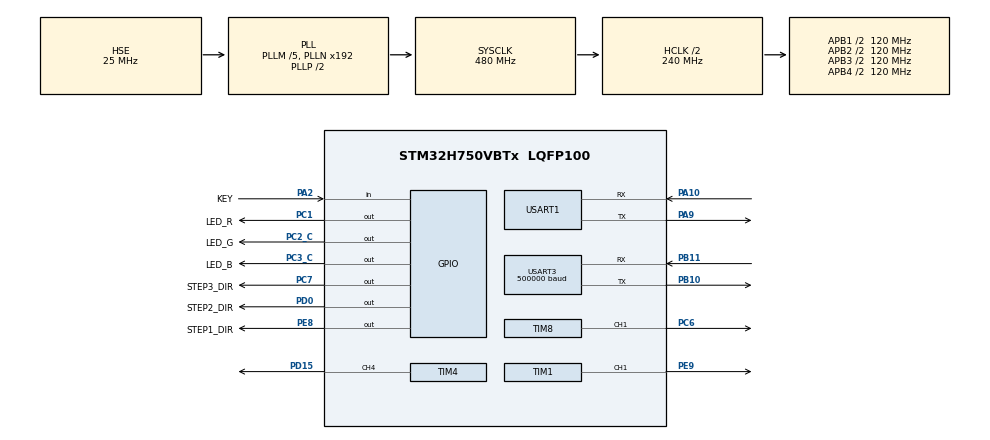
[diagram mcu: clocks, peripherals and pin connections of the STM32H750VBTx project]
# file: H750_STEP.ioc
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CORTEX_M7.CPU_DCache=Disabled
CORTEX_M7.CPU_ICache=Disabled
Dma.Request0=USART1_TX
Dma.Request1=USART1_RX
Dma.Request2=USART3_TX
Dma.Request3=USART3_RX
Dma.USART1_RX.1.Direction=DMA_PERIPH_TO_MEMORY
Dma.USART1_RX.1.EventEnable=DISABLE
Dma.USART1_RX.1.FIFOMode=DMA_FIFOMODE_DISABLE
Dma.USART1_RX.1.Instance=DMA1_Stream3
Dma.USART1_RX.1.MemDataAlignment=DMA_MDATAALIGN_BYTE
Dma.USART1_RX.1.MemInc=DMA_MINC_ENABLE
Dma.USART1_RX.1.Mode=DMA_NORMAL
Dma.USART1_RX.1.PeriphDataAlignment=DMA_PDATAALIGN_BYTE
Dma.USART1_RX.1.PeriphInc=DMA_PINC_DISABLE
Dma.USART1_RX.1.Polarity=HAL_DMAMUX_REQ_GEN_RISING
Dma.USART1_RX.1.Priority=DMA_PRIORITY_LOW
Dma.USART1_RX.1.RequestNumber=1
Dma.USART1_RX.1.SignalID=NONE
Dma.USART1_RX.1.SyncEnable=DISABLE
Dma.USART1_RX.1.SyncPolarity=HAL_DMAMUX_SYNC_NO_EVENT
Dma.USART1_RX.1.SyncRequestNumber=1
Dma.USART1_RX.1.SyncSignalID=NONE
Dma.USART1_TX.0.Direction=DMA_MEMORY_TO_PERIPH
Dma.USART1_TX.0.EventEnable=DISABLE
Dma.USART1_TX.0.FIFOMode=DMA_FIFOMODE_DISABLE
Dma.USART1_TX.0.Instance=DMA1_Stream4
Dma.USART1_TX.0.MemDataAlignment=DMA_MDATAALIGN_BYTE
Dma.USART1_TX.0.MemInc=DMA_MINC_ENABLE
Dma.USART1_TX.0.Mode=DMA_NORMAL
Dma.USART1_TX.0.PeriphDataAlignment=DMA_PDATAALIGN_BYTE
Dma.USART1_TX.0.PeriphInc=DMA_PINC_DISABLE
Dma.USART1_TX.0.Polarity=HAL_DMAMUX_REQ_GEN_RISING
Dma.USART1_TX.0.Priority=DMA_PRIORITY_LOW
Dma.USART1_TX.0.RequestNumber=1
Dma.USART1_TX.0.SignalID=NONE
Dma.USART1_TX.0.SyncEnable=DISABLE
Dma.USART1_TX.0.SyncPolarity=HAL_DMAMUX_SYNC_NO_EVENT
Dma.USART1_TX.0.SyncRequestNumber=1
Dma.USART1_TX.0.SyncSignalID=NONE
Dma.USART3_RX.3.Direction=DMA_PERIPH_TO_MEMORY
Dma.USART3_RX.3.EventEnable=DISABLE
Dma.USART3_RX.3.FIFOMode=DMA_FIFOMODE_DISABLE
Dma.USART3_RX.3.Instance=DMA1_Stream1
Dma.USART3_RX.3.MemDataAlignment=DMA_MDATAALIGN_BYTE
Dma.USART3_RX.3.MemInc=DMA_MINC_ENABLE
Dma.USART3_RX.3.Mode=DMA_NORMAL
Dma.USART3_RX.3.PeriphDataAlignment=DMA_PDATAALIGN_BYTE
Dma.USART3_RX.3.PeriphInc=DMA_PINC_DISABLE
Dma.USART3_RX.3.Polarity=HAL_DMAMUX_REQ_GEN_RISING
Dma.USART3_RX.3.Priority=DMA_PRIORITY_MEDIUM
Dma.USART3_RX.3.RequestNumber=1
Dma.USART3_RX.3.SignalID=NONE
Dma.USART3_RX.3.SyncEnable=DISABLE
Dma.USART3_RX.3.SyncPolarity=HAL_DMAMUX_SYNC_NO_EVENT
Dma.USART3_RX.3.SyncRequestNumber=1
Dma.USART3_RX.3.SyncSignalID=NONE
Dma.USART3_TX.2.Direction=DMA_MEMORY_TO_PERIPH
Dma.USART3_TX.2.EventEnable=DISABLE
Dma.USART3_TX.2.FIFOMode=DMA_FIFOMODE_DISABLE
Dma.USART3_TX.2.Instance=DMA1_Stream0
Dma.USART3_TX.2.MemDataAlignment=DMA_MDATAALIGN_BYTE
Dma.USART3_TX.2.MemInc=DMA_MINC_ENABLE
Dma.USART3_TX.2.Mode=DMA_NORMAL
Dma.USART3_TX.2.PeriphDataAlignment=DMA_PDATAALIGN_BYTE
Dma.USART3_TX.2.PeriphInc=DMA_PINC_DISABLE
Dma.USART3_TX.2.Polarity=HAL_DMAMUX_REQ_GEN_RISING
Dma.USART3_TX.2.Priority=DMA_PRIORITY_MEDIUM
Dma.USART3_TX.2.RequestNumber=1
Dma.USART3_TX.2.SignalID=NONE
Dma.USART3_TX.2.SyncEnable=DISABLE
Dma.USART3_TX.2.SyncPolarity=HAL_DMAMUX_SYNC_NO_EVENT
Dma.USART3_TX.2.SyncRequestNumber=1
Dma.USART3_TX.2.SyncSignalID=NONE
Mcu.Family=STM32H7
Mcu.Name=STM32H750VBTx
Mcu.Package=LQFP100
NVIC.DMA1_Stream0_IRQn=true\:0\:0\:false\:false\:true\:false\:true\:true
NVIC.DMA1_Stream1_IRQn=true\:0\:0\:false\:false\:true\:false\:true\:true
NVIC.DMA1_Stream3_IRQn=true\:0\:0\:false\:false\:true\:false\:true\:true
NVIC.DMA1_Stream4_IRQn=true\:0\:0\:false\:false\:true\:false\:true\:true
NVIC.PriorityGroup=NVIC_PRIORITYGROUP_4
NVIC.TIM2_IRQn=true\:3\:0\:true\:false\:true\:true\:true\:true
NVIC.TIM3_IRQn=true\:3\:0\:true\:false\:true\:true\:true\:true
NVIC.TIM5_IRQn=true\:3\:0\:true\:false\:true\:true\:true\:true
NVIC.USART1_IRQn=true\:1\:0\:true\:false\:true\:true\:true\:true
NVIC.USART3_IRQn=true\:2\:0\:true\:false\:true\:true\:true\:true
PA10.Mode=Asynchronous
PA10.Signal=USART1_RX
PA13\ (JTMS/SWDIO).Mode=Serial_Wire
PA13\ (JTMS/SWDIO).Signal=DEBUG_JTMS-SWDIO
PA14\ (JTCK/SWCLK).Mode=Serial_Wire
PA14\ (JTCK/SWCLK).Signal=DEBUG_JTCK-SWCLK
PA2.GPIO_Label=KEY
PA2.GPIO_PuPd=GPIO_PULLUP
PA2.Signal=GPIO_Input
PA9.Mode=Asynchronous
PA9.Signal=USART1_TX
PB10.Mode=Asynchronous
PB10.Signal=USART3_TX
PB11.Mode=Asynchronous
PB11.Signal=USART3_RX
PC1.GPIO_Label=LED_R
PC1.Signal=GPIO_Output
PC2_C.GPIO_Label=LED_G
PC2_C.Signal=GPIO_Output
PC3_C.GPIO_Label=LED_B
PC3_C.Signal=GPIO_Output
PC6.Signal=S_TIM8_CH1
PC7.GPIO_Label=STEP3_DIR
PC7.Signal=GPIO_Output
PD0.GPIO_Label=STEP2_DIR
PD0.Signal=GPIO_Output
PD15.Signal=S_TIM4_CH4
PE8.GPIO_Label=STEP1_DIR
PE8.Signal=GPIO_Output
PE9.Signal=S_TIM1_CH1
PH0-OSC_IN\ (PH0).Mode=HSE-External-Oscillator
PH0-OSC_IN\ (PH0).Signal=RCC_OSC_IN
PH1-OSC_OUT\ (PH1).Mode=HSE-External-Oscillator
PH1-OSC_OUT\ (PH1).Signal=RCC_OSC_OUT
ProjectManager.HeapSize=0x800
ProjectManager.StackSize=0x800
ProjectManager.TargetToolchain=MDK-ARM V5.32
RCC.ADCFreq_Value=50390625
RCC.APB1Freq_Value=120000000
RCC.APB2Freq_Value=120000000
RCC.APB3Freq_Value=120000000
RCC.APB4Freq_Value=120000000
RCC.CortexFreq_Value=480000000
RCC.D1PPRE=RCC_APB3_DIV2
RCC.D2PPRE1=RCC_APB1_DIV2
RCC.D2PPRE2=RCC_APB2_DIV2
RCC.D3PPRE=RCC_APB4_DIV2
RCC.DIVM1=5
RCC.DIVN1=192
RCC.HCLKFreq_Value=240000000
RCC.HPRE=RCC_HCLK_DIV2
RCC.PLL3_VCI_Range-AdvancedSettings=RCC_PLL3VCIRANGE_0
RCC.PLLSourceVirtual=RCC_PLLSOURCE_HSE
RCC.ProductRev=revV
RCC.RCC_TIM_PRescaler_Selection=RCC_TIMPRES_DESACTIVATED
RCC.SYSCLKFreq_VALUE=480000000
RCC.SYSCLKSource=RCC_SYSCLKSOURCE_PLLCLK
RCC.SupplySource=PWR_LDO_SUPPLY
RCC.USBFreq_Value=480000000
SH.S_TIM1_CH1.0=TIM1_CH1,PWM Generation1 CH1
SH.S_TIM4_CH4.0=TIM4_CH4,PWM Generation4 CH4
SH.S_TIM8_CH1.0=TIM8_CH1,PWM Generation1 CH1
TIM1.AutoReloadPreload=TIM_AUTORELOAD_PRELOAD_DISABLE
TIM1.Channel-PWM\ Generation1\ CH1=TIM_CHANNEL_1
TIM1.Period=100
TIM1.Prescaler=240-1
TIM1.Pulse-PWM\ Generation1\ CH1=0
TIM1.TIM_MasterOutputTrigger=TIM_TRGO_OC1
TIM1.TIM_MasterOutputTrigger2=TIM_TRGO2_RESET
TIM1.TIM_MasterSlaveMode=TIM_MASTERSLAVEMODE_ENABLE
TIM2.TIM_MasterOutputTrigger=TIM_TRGO_RESET
TIM2.TIM_MasterSlaveMode=TIM_MASTERSLAVEMODE_DISABLE
TIM4.Channel-PWM\ Generation4\ CH4=TIM_CHANNEL_4
TIM4.Period=100
TIM4.Prescaler=240-1
TIM4.TIM_MasterOutputTrigger=TIM_TRGO_OC1
TIM4.TIM_MasterSlaveMode=TIM_MASTERSLAVEMODE_ENABLE
TIM8.Channel-PWM\ Generation1\ CH1=TIM_CHANNEL_1
TIM8.Period=100
TIM8.Prescaler=240-1
TIM8.TIM_MasterOutputTrigger=TIM_TRGO_OC1
TIM8.TIM_MasterSlaveMode=TIM_MASTERSLAVEMODE_ENABLE
USART1.AutoBaudRateEnableParam=UART_ADVFEATURE_AUTOBAUDRATE_DISABLE
USART1.VirtualMode-Asynchronous=VM_ASYNC
USART3.BaudRate=500000
USART3.VirtualMode-Asynchronous=VM_ASYNC
VP_TIM2_VS_ClockSourceITR.Mode=TriggerSource_ITR0
VP_TIM2_VS_ControllerModeClock.Mode=Clock Mode
VP_TIM3_VS_ClockSourceITR.Mode=TriggerSource_ITR3
VP_TIM3_VS_ControllerModeClock.Mode=Clock Mode
VP_TIM5_VS_ClockSourceITR.Mode=TriggerSource_ITR1
VP_TIM5_VS_ControllerModeClock.Mode=Clock Mode
board=custom

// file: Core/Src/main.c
/* USER CODE BEGIN Header */
/**
 ******************************************************************************
 * @file           : main.c
 * @brief          : Main program body
 ******************************************************************************
 * @attention
 *
 * <h2><center>&copy; Copyright (c) 2022 STMicroelectronics.
 * All rights reserved.</center></h2>
 *
 * This software component is licensed by ST under BSD 3-Clause license,
 * the "License"; You may not use this file except in compliance with the
 * License. You may obtain a copy of the License at:
 *                        opensource.org/licenses/BSD-3-Clause
 *
 ******************************************************************************
 */
/* USER CODE END Header */
#include "main.h"

#include "dma.h"
#include "gpio.h"
#include "tim.h"
#include "usart.h"

/* USER CODE BEGIN Includes */
#include "app.h"
#include "candy.h"
#include "cstring.h"
#include "key.h"
#include "queue.h"
#include "scheduler.h"
#include "step.h"
#include "uart_pack.h"
/* USER CODE END Includes */

/* USER CODE BEGIN PV */
uart_dma_ctrl_t uart_1;
step_ctrl_t step_1;
step_ctrl_t step_2;
step_ctrl_t step_3;
// uint8_t user_com_data;
/* USER CODE END PV */

void SystemClock_Config(void);
/* USER CODE BEGIN PFP */
void Add_Tasks(void);
/* USER CODE END PFP */

int main(void) {

  /* MCU Configuration--------------------------------------------------------*/

  /* Reset of all peripherals, Initializes the Flash interface and the Systick.
   */
  HAL_Init();

  /* Configure the system clock */
  SystemClock_Config();

  /* USER CODE BEGIN SysInit */
  RGB(1, 1, 0);

  /* USER CODE END SysInit */

  /* Initialize all configured peripherals */
  MX_GPIO_Init();
  MX_DMA_Init();
  MX_TIM1_Init();
  MX_TIM2_Init();
  MX_USART1_UART_Init();
  MX_USART3_UART_Init();
  MX_TIM3_Init();
  MX_TIM4_Init();
  MX_TIM5_Init();
  MX_TIM8_Init();
  /* USER CODE BEGIN 2 */
  Enable_Uart_DMA_Control(&uart_1, &huart1);
  // HAL_UART_Receive_IT(&USER_COM_UART, &user_com_data, 1);
  HAL_UARTEx_ReceiveToIdle_DMA(&USER_COM_UART, user_data_temp, 128);
  Step_Init(&step_1, &htim1, &htim2, TIM_CHANNEL_1, STEP1_DIR_GPIO_Port,
            STEP1_DIR_Pin, 0);
  Step_Init(&step_2, &htim4, &htim3, TIM_CHANNEL_4, STEP2_DIR_GPIO_Port,
            STEP2_DIR_Pin, 0);
  Step_Init(&step_3, &htim8, &htim5, TIM_CHANNEL_1, STEP3_DIR_GPIO_Port,
            STEP3_DIR_Pin, 0);
  Add_Tasks();
  RGB(0, 0, 0);
  LOG_I("--- System Boot ---");
  /* USER CODE END 2 */

  /* Infinite loop */
  /* USER CODE BEGIN WHILE */
  while (1) {
    Scheduler_Run();  // run scheduler
  }
  /* USER CODE END WHILE */

}

void SystemClock_Config(void) {
  RCC_OscInitTypeDef RCC_OscInitStruct = {0};
  RCC_ClkInitTypeDef RCC_ClkInitStruct = {0};

  /** Supply configuration update enable
   */
  HAL_PWREx_ConfigSupply(PWR_LDO_SUPPLY);

  /** Configure the main internal regulator output voltage
   */
  __HAL_PWR_VOLTAGESCALING_CONFIG(PWR_REGULATOR_VOLTAGE_SCALE1);

  while (!__HAL_PWR_GET_FLAG(PWR_FLAG_VOSRDY)) {
  }

  __HAL_RCC_SYSCFG_CLK_ENABLE();
  __HAL_PWR_VOLTAGESCALING_CONFIG(PWR_REGULATOR_VOLTAGE_SCALE0);

  while (!__HAL_PWR_GET_FLAG(PWR_FLAG_VOSRDY)) {
  }

  /** Initializes the RCC Oscillators according to the specified parameters
   * in the RCC_OscInitTypeDef structure.
   */
  RCC_OscInitStruct.OscillatorType = RCC_OSCILLATORTYPE_HSE;
  RCC_OscInitStruct.HSEState = RCC_HSE_ON;
  RCC_OscInitStruct.PLL.PLLState = RCC_PLL_ON;
  RCC_OscInitStruct.PLL.PLLSource = RCC_PLLSOURCE_HSE;
  RCC_OscInitStruct.PLL.PLLM = 5;
  RCC_OscInitStruct.PLL.PLLN = 192;
  RCC_OscInitStruct.PLL.PLLP = 2;
  RCC_OscInitStruct.PLL.PLLQ = 2;
  RCC_OscInitStruct.PLL.PLLR = 2;
  RCC_OscInitStruct.PLL.PLLRGE = RCC_PLL1VCIRANGE_2;
  RCC_OscInitStruct.PLL.PLLVCOSEL = RCC_PLL1VCOWIDE;
  RCC_OscInitStruct.PLL.PLLFRACN = 0;
  if (HAL_RCC_OscConfig(&RCC_OscInitStruct) != HAL_OK) {
    Error_Handler();
  }

  /** Initializes the CPU, AHB and APB buses clocks
   */
  RCC_ClkInitStruct.ClockType = RCC_CLOCKTYPE_HCLK | RCC_CLOCKTYPE_SYSCLK |
                                RCC_CLOCKTYPE_PCLK1 | RCC_CLOCKTYPE_PCLK2 |
                                RCC_CLOCKTYPE_D3PCLK1 | RCC_CLOCKTYPE_D1PCLK1;
  RCC_ClkInitStruct.SYSCLKSource = RCC_SYSCLKSOURCE_PLLCLK;
  RCC_ClkInitStruct.SYSCLKDivider = RCC_SYSCLK_DIV1;
  RCC_ClkInitStruct.AHBCLKDivider = RCC_HCLK_DIV2;
  RCC_ClkInitStruct.APB3CLKDivider = RCC_APB3_DIV2;
  RCC_ClkInitStruct.APB1CLKDivider = RCC_APB1_DIV2;
  RCC_ClkInitStruct.APB2CLKDivider = RCC_APB2_DIV2;
  RCC_ClkInitStruct.APB4CLKDivider = RCC_APB4_DIV2;

  if (HAL_RCC_ClockConfig(&RCC_ClkInitStruct, FLASH_LATENCY_4) != HAL_OK) {
    Error_Handler();
  }
}

/* USER CODE BEGIN 4 */
void HAL_UART_TxCpltCallback(UART_HandleTypeDef *huart) {}

void HAL_UART_RxCpltCallback(UART_HandleTypeDef *huart) {
  // if (huart->Instance == USART3) {
  //   UserCom_GetOneByte(user_com_data);
  //   HAL_UART_Receive_IT(&USER_COM_UART, &user_com_data, 1);
  // }
}

void HAL_UARTEx_RxEventCallback(UART_HandleTypeDef *huart, uint16_t Size) {
  Uart_DMA_Data_Process(&uart_1, huart, Size);
  if (huart->Instance == USART3) {
    UserCom_DataAnl(user_data_temp, Size - 1);
    HAL_UARTEx_ReceiveToIdle_DMA(&USER_COM_UART, user_data_temp, 128);
  }
}

void Task_Key_Func(void) {
  uint16_t key_value = key_read_value();
  if (key_value != 0) {
    LOG_D("key_value: %d", key_value);
  }
  if (key_value == KEY_SHORT) {
    UserCom_SendEvent(USER_EVENT_KEY_SHORT, USER_EVENT_OP_SET);
  } else if (key_value == KEY_LONG) {
    UserCom_SendEvent(USER_EVENT_KEY_LONG, USER_EVENT_OP_SET);
  } else if (key_value == KEY_DOUBLE) {
    UserCom_SendEvent(USER_EVENT_KEY_DOUBLE, USER_EVENT_OP_SET);
  }
}

// TIM interrupt
void HAL_TIM_PeriodElapsedCallback(TIM_HandleTypeDef *htim) {
  Step_IT_Handler(&step_1, htim);
  Step_IT_Handler(&step_2, htim);
  Step_IT_Handler(&step_3, htim);
}

void Add_Tasks(void) {
  Add_SchTask(UserCom_Task, 100, 1);
  Add_SchTask(Task_Key_Func, 50, 1);
  Add_SchTask(key_check_all_loop_1ms, 1000, 1);
}

/* USER CODE END 4 */

void Error_Handler(void) {
  /* USER CODE BEGIN Error_Handler_Debug */
  /* User can add his own implementation to report the HAL error return state */
  LOG_E("HardFault Occurred");
  printf_flush();
  __disable_irq();
  while (1) {
  }
  /* USER CODE END Error_Handler_Debug */
}

#ifdef USE_FULL_ASSERT
/**
 * @brief  Reports the name of the source file and the source line number
 *         where the assert_param error has occurred.
 * @param  file: pointer to the source file name
 * @param  line: assert_param error line source number
 * @retval None
 */
void assert_failed(uint8_t *file, uint32_t line) {
  /* USER CODE BEGIN 6 */
  /* User can add his own implementation to report the file name and line
     number, ex: printf("Wrong parameters value: file %s on line %d\r\n", file,
     line) */
  LOG_E("Assert Failed: %s:%d", file, line);
  /* USER CODE END 6 */
}
#endif /* USE_FULL_ASSERT */
